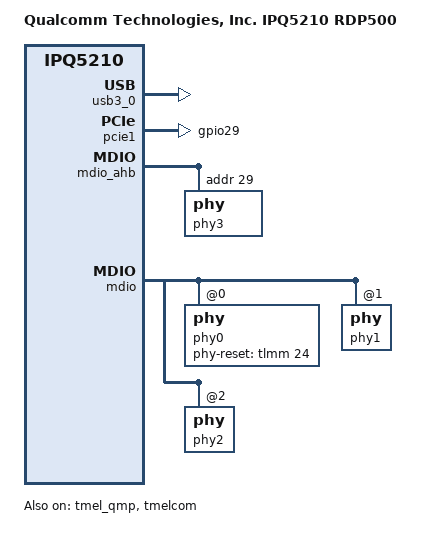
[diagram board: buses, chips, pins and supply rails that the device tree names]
// SPDX-License-Identifier: GPL-2.0-only
/*
 * Copyright (c) Qualcomm Technologies, Inc. and/or its subsidiaries.
 */

/dts-v1/;

#include "ipq5210-u-boot.dtsi"

/ {
	model = "Qualcomm Technologies, Inc. IPQ5210 RDP500";
	compatible = "qcom,ipq5210-rdp500", "qcom,ipq5210";

	aliases {
		serial0 = &uart1;
	};

	soc@0 {
		qmp_ssphy_0: ssphy@7D000 {
			status = "okay";
		};

		qusb2_phy_0: qusb2_0@7B000 {
			status = "okay";
		};

		usb3_0: usb3_0@8af8800 {
			status = "okay";
		};

		pcie1_phy: phy@f4000 {
			status = "okay";
		};

		pcie1: pcie@50000000 {
			pinctrl-0 = <&pcie1_default_state>;
			pinctrl-names = "default";
			perst-gpios = <&tlmm 29 GPIO_ACTIVE_LOW>;
			status = "okay";
		};

		mdio_ahb: mdio-ahb@1400000 {
			phy3: phy@29 {
				reg = <29 0>;
				phy_addr = <29>;
				phy_type = <INTERNAL_PHY_TYPE>;
				id = <4>;
				uniphy_id = <0xFF>;
				uniphy_type = <1>;

				clocks = <&nsscc NSS_CC_EPHY_RX_CLK>,
					 <&nsscc NSS_CC_EPHY_TX_CLK>,
					 <&gcc GCC_GEPHY_SYS_CLK>;
				clock-names = "ephy_rx_clk",
					      "ephy_tx_clk",
					      "sys_clk";

				resets = <&nsscc NSS_CC_EPHY_RX_CLK_ARES>,
					 <&nsscc NSS_CC_EPHY_TX_CLK_ARES>,
					 <&gcc GCC_GEPHY_SYS_CLK_ARES>;
				reset-names = "ephy_rx_reset",
					      "ephy_tx_reset",
					      "sys_clk_reset";

				qcom,ldo-bias-reg = <0x1961000>;
				qcom,pll-src-sel-reg = <0x9B42c>;
				qcom,ephy-rx-mux-reg = <0x39B00610 0x0>;
				qcom,ephy-tx-mux-reg = <0x39B00614 0x0>;
			};
		};

		mdio: mdio@90000 {
			status = "okay";
			phy0: phy@0 {
				phy-reset-gpio = <&tlmm 24 0>;
				phy_addr = <0>;
				phy_type = <QCA8075_PHY_TYPE>;
				id = <1>;
				uniphy_id = <0>;
				uniphy_type = <0>;
			};

			phy1: phy@1 {
				phy_addr = <1>;
				phy_type = <QCA8075_PHY_TYPE>;
				id = <2>;
				uniphy_id = <0>;
				uniphy_type = <0>;
			};

			phy2: phy@2 {
				phy_addr = <2>;
				phy_type = <QCA8075_PHY_TYPE>;
				id = <3>;
				uniphy_id = <0>;
				uniphy_type = <0>;
			};
		};

		ess_instance: ess-instance{
			pinctrl-names = "default";
			pinctrl-0 = <&phy_rst_pinmux>;
			phy-handle0 = <&phy0>;
			phy-handle1 = <&phy1>;
			phy-handle2 = <&phy2>;
			phy-handle3 = <&phy3>;
			status = "okay";
		};
	};
};

&tlmm {
	pcie1_default_state: pcie1-default-state {
		perst-n-pins {
			pins = "gpio29";
			function = "gpio";
			drive-strength = <6>;
			bias-pull-down;
			output-low;
		};
	};

	phy_rst_pinmux: phy_rst {
		qca_8075_rst {
			pins = "gpio24";
			function = "gpio";
			drive-strength = <6>;
			bias-pull-down;
		};
	};
};

&tmel_qmp {
	status = "okay";
};

&tmelcom {
	status = "okay";
};
